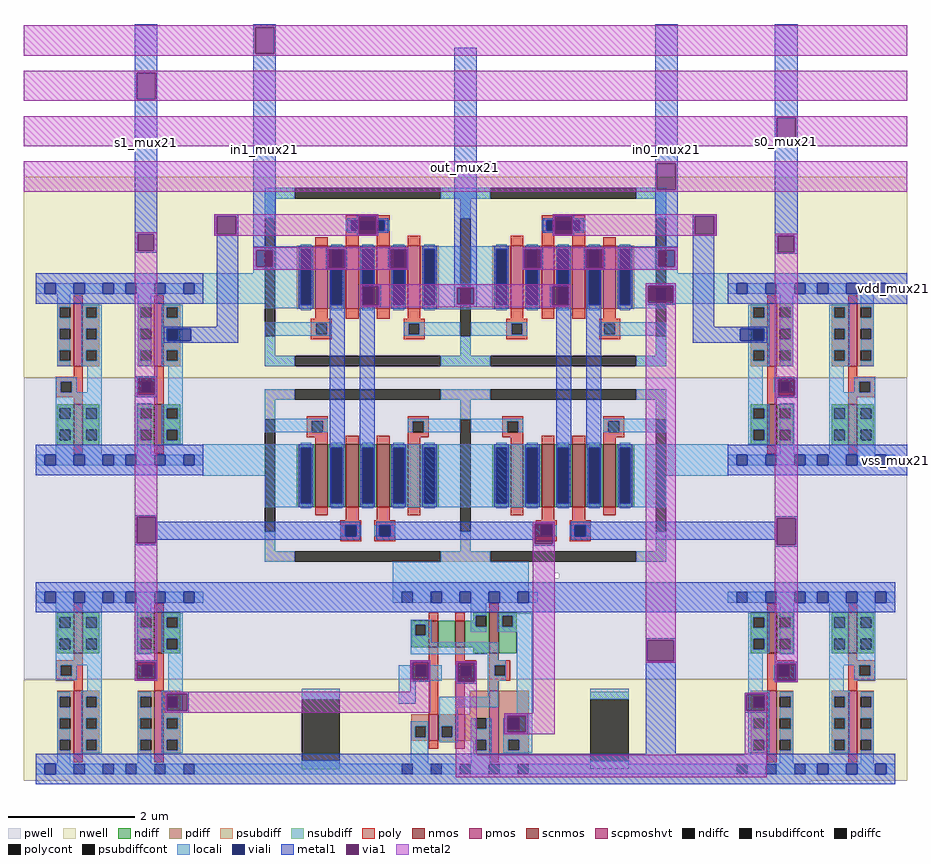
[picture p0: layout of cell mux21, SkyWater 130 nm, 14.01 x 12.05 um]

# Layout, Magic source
magic
tech sky130A
magscale 1 2
<< nwell >>
rect -42 962 872 1260
rect 876 964 992 1036
rect 1726 964 1842 1036
rect -42 943 686 962
rect 102 857 686 943
rect 102 842 722 857
rect 836 842 872 962
rect 102 622 872 842
rect 1846 962 2760 1260
rect 1846 842 1882 962
rect 2032 943 2760 962
rect 2032 857 2616 943
rect 1996 842 2616 857
rect 1846 622 2616 842
rect 102 -381 2760 -334
rect 102 -431 2616 -381
rect 102 -666 2452 -431
<< pwell >>
rect -42 286 690 622
rect 2028 286 2760 622
rect -42 176 2760 286
rect -42 156 1576 176
rect -42 90 1642 156
rect -42 58 1576 90
rect -42 -14 1642 58
rect 1654 -14 2760 176
rect -42 -334 2760 -14
<< pdiff >>
rect 924 970 976 1030
rect 1742 970 1794 1030
<< nsubdiff >>
rect 839 -398 961 -373
rect 839 -619 961 -592
rect 1755 -398 1877 -373
rect 1755 -619 1877 -592
<< nsubdiffcont >>
rect 839 -592 961 -398
rect 1755 -592 1877 -398
<< locali >>
rect 686 953 836 1040
rect 526 857 836 953
rect 1882 953 2032 1040
rect 722 842 836 857
rect 1226 840 1492 922
rect 1882 908 2192 953
rect 1882 866 1944 908
rect 2012 866 2192 908
rect 1882 857 2192 866
rect 1882 842 1996 857
rect 722 756 930 798
rect 1788 756 1996 798
rect 60 378 206 576
rect 722 450 922 492
rect 1796 450 1996 492
rect 526 312 836 412
rect 722 212 836 312
rect 1164 212 1554 412
rect 1882 312 2192 412
rect 2512 378 2658 576
rect 1882 212 1996 312
rect 1128 -57 1559 38
rect 60 -289 206 -91
rect 2512 -289 2658 -91
rect 839 -398 961 -364
rect 1755 -398 1877 -364
rect 839 -601 961 -592
rect 1755 -601 1877 -592
rect 528 -635 2219 -601
<< viali >>
rect 1944 866 2012 908
rect 414 740 488 778
rect 2230 740 2304 778
rect 330 578 364 612
rect 2356 576 2390 610
rect 978 120 1012 154
rect 1086 120 1120 154
rect 1598 120 1632 154
rect 1706 120 1740 154
rect 332 -324 366 -290
rect 1202 -324 1236 -290
rect 1342 -328 1378 -292
rect 2352 -324 2386 -290
rect 412 -424 446 -388
rect 1494 -492 1530 -456
rect 2272 -424 2306 -388
<< metal1 >>
rect 310 1590 382 1744
rect 310 1506 316 1590
rect 376 1506 382 1590
rect 310 1077 382 1506
rect 686 1734 758 1744
rect 686 1650 692 1734
rect 752 1650 758 1734
rect 310 1025 319 1077
rect 371 1025 382 1077
rect 564 1134 638 1140
rect 564 1078 570 1134
rect 632 1078 638 1134
rect 564 1072 638 1078
rect 310 1019 382 1025
rect 570 784 638 1072
rect 686 1026 758 1650
rect 1014 1134 1082 1140
rect 1014 1078 1020 1134
rect 1076 1078 1082 1134
rect 1014 1072 1082 1078
rect 686 974 696 1026
rect 748 974 758 1026
rect 686 964 758 974
rect 918 1030 982 1036
rect 918 970 924 1030
rect 976 970 982 1030
rect 918 964 982 970
rect 1114 1030 1178 1036
rect 1114 970 1120 1030
rect 1172 970 1178 1030
rect 1114 964 1178 970
rect 1026 912 1090 918
rect 1026 852 1032 912
rect 1084 852 1090 912
rect 1026 846 1090 852
rect 1323 908 1395 1668
rect 1960 1302 2032 1744
rect 1960 1218 1966 1302
rect 2026 1218 2032 1302
rect 1636 1134 1704 1140
rect 1636 1078 1642 1134
rect 1698 1078 1704 1134
rect 1636 1072 1704 1078
rect 1540 1030 1604 1036
rect 1540 970 1546 1030
rect 1598 970 1604 1030
rect 1540 964 1604 970
rect 1736 1030 1800 1036
rect 1736 970 1742 1030
rect 1794 970 1800 1030
rect 1736 964 1800 970
rect 1960 1026 2032 1218
rect 2340 1446 2412 1744
rect 2340 1362 2346 1446
rect 2406 1362 2412 1446
rect 1960 974 1970 1026
rect 2022 974 2032 1026
rect 1960 964 2032 974
rect 2080 1134 2154 1140
rect 2080 1078 2086 1134
rect 2148 1078 2154 1134
rect 2080 1072 2154 1078
rect 2340 1073 2412 1362
rect 1323 856 1333 908
rect 1385 856 1395 908
rect 1323 846 1395 856
rect 1628 912 1692 918
rect 1628 852 1634 912
rect 1686 852 1692 912
rect 1930 914 2026 922
rect 1930 860 1938 914
rect 2018 860 2026 914
rect 1930 854 2026 860
rect 1628 846 1692 852
rect 1026 842 1072 846
rect 402 778 638 784
rect 402 740 414 778
rect 488 740 638 778
rect 402 734 638 740
rect 310 621 382 627
rect 310 569 321 621
rect 373 569 382 621
rect 310 560 382 569
rect 928 412 976 842
rect 1024 410 1072 842
rect 1646 842 1692 846
rect 1646 410 1694 842
rect 1742 412 1790 842
rect 2080 784 2148 1072
rect 2340 1021 2349 1073
rect 2401 1021 2412 1073
rect 2340 1015 2412 1021
rect 2722 857 2760 953
rect 2080 778 2316 784
rect 2080 740 2230 778
rect 2304 740 2316 778
rect 2080 734 2316 740
rect 2340 617 2411 623
rect 2340 565 2351 617
rect 2403 565 2411 617
rect 2340 559 2411 565
rect 2722 313 2760 409
rect 310 181 382 187
rect 310 97 316 181
rect 376 166 382 181
rect 2340 177 2412 183
rect 2340 166 2346 177
rect 376 154 1026 166
rect 376 120 978 154
rect 1012 120 1026 154
rect 376 108 1026 120
rect 1076 160 1642 166
rect 1076 154 1578 160
rect 1076 120 1086 154
rect 1120 120 1578 154
rect 1076 108 1578 120
rect 376 97 382 108
rect 310 91 382 97
rect 1572 96 1578 108
rect 1636 96 1642 160
rect 1692 154 2346 166
rect 1692 120 1706 154
rect 1740 120 2346 154
rect 1692 108 2346 120
rect 1572 90 1642 96
rect 2340 93 2346 108
rect 2406 93 2412 177
rect 2340 87 2412 93
rect 514 -122 1254 -26
rect 1559 -122 2304 -26
rect 1930 -210 2026 -204
rect 310 -280 382 -273
rect 310 -334 316 -280
rect 376 -334 382 -280
rect 310 -339 382 -334
rect 1184 -280 1248 -274
rect 1930 -276 1936 -210
rect 2020 -276 2026 -210
rect 1184 -336 1190 -280
rect 1242 -336 1248 -280
rect 1184 -342 1248 -336
rect 1328 -282 1394 -276
rect 1328 -342 1334 -282
rect 1388 -342 1394 -282
rect 1328 -348 1394 -342
rect 406 -380 482 -374
rect 406 -434 412 -380
rect 476 -434 482 -380
rect 406 -440 482 -434
rect 1482 -450 1556 -442
rect 1482 -502 1492 -450
rect 1550 -502 1556 -450
rect 1482 -508 1556 -502
rect 1930 -570 2026 -276
rect 2340 -284 2412 -278
rect 2340 -338 2346 -284
rect 2406 -338 2412 -284
rect 2340 -344 2412 -338
rect 2244 -382 2314 -376
rect 2244 -434 2250 -382
rect 2308 -434 2314 -382
rect 2244 -440 2314 -434
rect 102 -666 2452 -570
<< via1 >>
rect 316 1506 376 1590
rect 692 1650 752 1734
rect 319 1025 371 1077
rect 570 1078 632 1134
rect 1020 1078 1076 1134
rect 696 974 748 1026
rect 924 970 976 1030
rect 1120 970 1172 1030
rect 1032 852 1084 912
rect 1966 1218 2026 1302
rect 1642 1078 1698 1134
rect 1546 970 1598 1030
rect 1742 970 1794 1030
rect 2346 1362 2406 1446
rect 1970 974 2022 1026
rect 2086 1078 2148 1134
rect 1333 856 1385 908
rect 1634 852 1686 912
rect 1938 908 2018 914
rect 1938 866 1944 908
rect 1944 866 2012 908
rect 2012 866 2018 908
rect 1938 860 2018 866
rect 321 612 373 621
rect 321 578 330 612
rect 330 578 364 612
rect 364 578 373 612
rect 321 569 373 578
rect 2349 1021 2401 1073
rect 2351 610 2403 617
rect 2351 576 2356 610
rect 2356 576 2390 610
rect 2390 576 2403 610
rect 2351 565 2403 576
rect 316 97 376 181
rect 1578 154 1636 160
rect 1578 120 1598 154
rect 1598 120 1632 154
rect 1632 120 1636 154
rect 1578 96 1636 120
rect 2346 93 2406 177
rect 316 -290 376 -280
rect 316 -324 332 -290
rect 332 -324 366 -290
rect 366 -324 376 -290
rect 316 -334 376 -324
rect 1936 -276 2020 -210
rect 1190 -290 1242 -280
rect 1190 -324 1202 -290
rect 1202 -324 1236 -290
rect 1236 -324 1242 -290
rect 1190 -336 1242 -324
rect 1334 -292 1388 -282
rect 1334 -328 1342 -292
rect 1342 -328 1378 -292
rect 1378 -328 1388 -292
rect 1334 -342 1388 -328
rect 412 -388 476 -380
rect 412 -424 446 -388
rect 446 -424 476 -388
rect 412 -434 476 -424
rect 1492 -456 1550 -450
rect 1492 -492 1494 -456
rect 1494 -492 1530 -456
rect 1530 -492 1550 -456
rect 1492 -502 1550 -492
rect 2346 -290 2406 -284
rect 2346 -324 2352 -290
rect 2352 -324 2386 -290
rect 2386 -324 2406 -290
rect 2346 -338 2406 -324
rect 2250 -388 2308 -382
rect 2250 -424 2272 -388
rect 2272 -424 2306 -388
rect 2306 -424 2308 -388
rect 2250 -434 2308 -424
<< metal2 >>
rect -42 1734 2760 1740
rect -42 1650 692 1734
rect 752 1650 2760 1734
rect -42 1644 2760 1650
rect -42 1590 2760 1596
rect -42 1506 316 1590
rect 376 1506 2760 1590
rect -42 1500 2760 1506
rect -42 1446 2760 1452
rect -42 1362 2346 1446
rect 2406 1362 2760 1446
rect -42 1356 2760 1362
rect -42 1302 2760 1308
rect -42 1218 1966 1302
rect 2026 1218 2760 1302
rect -42 1212 2760 1218
rect 562 1134 1082 1140
rect 310 1077 382 1083
rect 310 1025 319 1077
rect 371 1025 382 1077
rect 562 1078 570 1134
rect 632 1078 1020 1134
rect 1076 1078 1082 1134
rect 562 1072 1082 1078
rect 1636 1134 2156 1140
rect 1636 1078 1642 1134
rect 1698 1078 2086 1134
rect 2148 1078 2156 1134
rect 1636 1072 2156 1078
rect 2340 1073 2412 1079
rect 310 621 382 1025
rect 686 1030 1178 1036
rect 686 1026 924 1030
rect 686 974 696 1026
rect 748 974 924 1026
rect 686 970 924 974
rect 976 970 1120 1030
rect 1172 970 1178 1030
rect 686 964 1178 970
rect 1540 1030 2032 1036
rect 1540 970 1546 1030
rect 1598 970 1742 1030
rect 1794 1026 2032 1030
rect 1794 974 1970 1026
rect 2022 974 2032 1026
rect 1794 970 2032 974
rect 1540 964 2032 970
rect 2340 1021 2349 1073
rect 2401 1021 2412 1073
rect 1026 912 1692 918
rect 1026 852 1032 912
rect 1084 908 1634 912
rect 1084 856 1333 908
rect 1385 856 1634 908
rect 1084 852 1634 856
rect 1686 852 1692 912
rect 1026 846 1692 852
rect 1930 914 2026 922
rect 1930 860 1938 914
rect 2018 860 2026 914
rect 310 569 321 621
rect 373 569 382 621
rect 310 181 382 569
rect 310 97 316 181
rect 376 97 382 181
rect 310 -280 382 97
rect 1572 160 1642 166
rect 1572 96 1578 160
rect 1636 96 1642 160
rect 310 -334 316 -280
rect 376 -334 382 -280
rect 310 -339 382 -334
rect 1184 -280 1248 -274
rect 1184 -336 1190 -280
rect 1242 -336 1248 -280
rect 1184 -374 1248 -336
rect 406 -380 1248 -374
rect 406 -434 412 -380
rect 476 -434 1248 -380
rect 406 -440 1248 -434
rect 1328 -282 1394 -276
rect 1328 -342 1334 -282
rect 1388 -342 1394 -282
rect 1328 -574 1394 -342
rect 1572 -442 1642 96
rect 1930 -210 2026 860
rect 1930 -276 1936 -210
rect 2020 -276 2026 -210
rect 1930 -282 2026 -276
rect 2340 617 2412 1021
rect 2340 565 2351 617
rect 2403 565 2412 617
rect 2340 177 2412 565
rect 2340 93 2346 177
rect 2406 93 2412 177
rect 2340 -284 2412 93
rect 2340 -338 2346 -284
rect 2406 -338 2412 -284
rect 2340 -344 2412 -338
rect 1482 -450 1642 -442
rect 1482 -502 1492 -450
rect 1550 -502 1642 -450
rect 1482 -508 1642 -502
rect 2244 -382 2314 -376
rect 2244 -434 2250 -382
rect 2308 -434 2314 -382
rect 2244 -574 2314 -434
rect 1328 -644 2314 -574
use sky130_fd_pr__nfet_01v8_ZRZL87  sky130_fd_pr__nfet_01v8_ZRZL87_0
transform -1 0 1669 0 -1 312
box -363 -310 363 310
use sky130_fd_pr__nfet_01v8_ZRZL87  sky130_fd_pr__nfet_01v8_ZRZL87_1
transform 1 0 1049 0 -1 312
box -363 -310 363 310
use sky130_fd_pr__pfet_01v8_3HMKL2  sky130_fd_pr__pfet_01v8_3HMKL2_0
transform -1 0 1669 0 1 941
box -363 -319 363 319
use sky130_fd_pr__pfet_01v8_3HMKL2  sky130_fd_pr__pfet_01v8_3HMKL2_1
transform 1 0 1049 0 1 941
box -363 -319 363 319
use sky130_fd_sc_hd__and2_1  sky130_fd_sc_hd__and2_1_0 $PDKPATH/libs.ref/sky130_fd_sc_hd/mag
transform 1 0 1128 0 -1 -74
box -38 -48 498 592
use sky130_fd_sc_hd__inv_1  sky130_fd_sc_hd__inv_1_0 $PDKPATH/libs.ref/sky130_fd_sc_hd/mag
transform 1 0 -4 0 1 361
box -38 -48 314 592
use sky130_fd_sc_hd__inv_1  sky130_fd_sc_hd__inv_1_1
transform 1 0 252 0 1 361
box -38 -48 314 592
use sky130_fd_sc_hd__inv_1  sky130_fd_sc_hd__inv_1_2
transform -1 0 2722 0 -1 -74
box -38 -48 314 592
use sky130_fd_sc_hd__inv_1  sky130_fd_sc_hd__inv_1_3
transform -1 0 2466 0 -1 -74
box -38 -48 314 592
use sky130_fd_sc_hd__inv_1  sky130_fd_sc_hd__inv_1_4
transform 1 0 252 0 -1 -74
box -38 -48 314 592
use sky130_fd_sc_hd__inv_1  sky130_fd_sc_hd__inv_1_5
transform 1 0 -4 0 -1 -74
box -38 -48 314 592
use sky130_fd_sc_hd__inv_1  sky130_fd_sc_hd__inv_1_6
transform -1 0 2722 0 1 361
box -38 -48 314 592
use sky130_fd_sc_hd__inv_1  sky130_fd_sc_hd__inv_1_7
transform -1 0 2466 0 1 361
box -38 -48 314 592
<< labels >>
flabel metal1 2722 857 2760 953 0 FreeSans 160 0 0 0 vdd_mux21
port 11 nsew
flabel metal1 2722 313 2760 409 0 FreeSans 160 0 0 0 vss_mux21
port 0 nsew
flabel metal1 686 1026 758 1668 0 FreeSans 320 90 0 0 in1_mux21
port 8 nsew
flabel metal1 1323 908 1395 1668 0 FreeSans 320 90 0 0 out_mux21
port 7 nsew
flabel metal1 2340 1073 2412 1668 0 FreeSans 320 90 0 0 s0_mux21
port 10 nsew
flabel metal1 1960 1026 2032 1668 0 FreeSans 320 90 0 0 in0_mux21
port 9 nsew
flabel metal1 310 1077 382 1661 0 FreeSans 320 90 0 0 s1_mux21
port 2 nsew
<< end >>

# cell sky130_fd_pr__nfet_01v8_ZRZL87: kit device sky130_fd_pr__nfet_01v8, w 1 l 0.2 m 1 nf 4 diffcov 100 polycov 100 guard 1 glc 1 grc 1 gtc 1 gbc 1 tbcov 100 rlcov 100 topc 1 botc 1 poverlap 0 doverlap 1 lmin 0.15 wmin 0.42 compatible {sky130_fd_pr__nfet_01v8 sky130_fd_pr__nfet_01v8_lvt sky130_fd_bs_flash__special_sonosfet_star sky130_fd_pr__nfet_g5v0d10v5 sky130_fd_pr__nfet_05v0_nvt sky130_fd_pr__nfet_03v3_nvt} full_metal 1 viasrc 100 viadrn 100 viagate 100 viagb 0 viagr 0 viagl 0 viagt 0

# cell sky130_fd_pr__pfet_01v8_3HMKL2: kit device sky130_fd_pr__pfet_01v8, w 1 l 0.2 m 1 nf 4 diffcov 100 polycov 100 guard 1 glc 1 grc 1 gtc 1 gbc 1 tbcov 100 rlcov 100 topc 1 botc 1 poverlap 0 doverlap 1 lmin 0.15 wmin 0.42 compatible {sky130_fd_pr__pfet_01v8 sky130_fd_pr__pfet_01v8_lvt sky130_fd_pr__pfet_01v8_hvt sky130_fd_pr__pfet_g5v0d10v5} full_metal 1 viasrc 100 viadrn 100 viagate 100 viagb 0 viagr 0 viagl 0 viagt 0

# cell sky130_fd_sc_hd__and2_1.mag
magic
tech sky130A
magscale 1 2
<< nwell >>
rect -38 261 498 582
<< pwell >>
rect 229 185 419 203
rect 33 21 419 185
rect 33 17 63 21
rect 29 -17 63 17
<< scnmos >>
rect 115 75 145 159
rect 199 75 229 159
rect 307 47 337 177
<< scpmoshvt >>
rect 115 371 145 455
rect 199 371 229 455
rect 307 297 337 497
<< ndiff >>
rect 255 159 307 177
rect 59 121 115 159
rect 59 87 71 121
rect 105 87 115 121
rect 59 75 115 87
rect 145 75 199 159
rect 229 93 307 159
rect 229 75 263 93
rect 255 59 263 75
rect 297 59 307 93
rect 255 47 307 59
rect 337 93 393 177
rect 337 59 347 93
rect 381 59 393 93
rect 337 47 393 59
<< pdiff >>
rect 255 485 307 497
rect 255 455 263 485
rect 59 443 115 455
rect 59 409 71 443
rect 105 409 115 443
rect 59 371 115 409
rect 145 443 199 455
rect 145 409 155 443
rect 189 409 199 443
rect 145 371 199 409
rect 229 451 263 455
rect 297 451 307 485
rect 229 417 307 451
rect 229 383 263 417
rect 297 383 307 417
rect 229 371 307 383
rect 245 297 307 371
rect 337 485 432 497
rect 337 451 367 485
rect 401 451 432 485
rect 337 417 432 451
rect 337 383 367 417
rect 401 383 432 417
rect 337 297 432 383
<< ndiffc >>
rect 71 87 105 121
rect 263 59 297 93
rect 347 59 381 93
<< pdiffc >>
rect 71 409 105 443
rect 155 409 189 443
rect 263 451 297 485
rect 263 383 297 417
rect 367 451 401 485
rect 367 383 401 417
<< poly >>
rect 307 497 337 523
rect 115 455 145 481
rect 199 455 229 481
rect 115 265 145 371
rect 58 249 145 265
rect 58 215 74 249
rect 108 215 145 249
rect 58 199 145 215
rect 115 159 145 199
rect 199 265 229 371
rect 307 265 337 297
rect 199 249 265 265
rect 199 215 215 249
rect 249 215 265 249
rect 199 199 265 215
rect 307 249 373 265
rect 307 215 323 249
rect 357 215 373 249
rect 307 199 373 215
rect 199 159 229 199
rect 307 177 337 199
rect 115 49 145 75
rect 199 49 229 75
rect 307 21 337 47
<< polycont >>
rect 74 215 108 249
rect 215 215 249 249
rect 323 215 357 249
<< locali >>
rect 0 527 29 561
rect 63 527 121 561
rect 155 527 213 561
rect 247 527 305 561
rect 339 527 397 561
rect 431 527 460 561
rect 57 443 113 527
rect 247 485 313 527
rect 57 409 71 443
rect 105 409 113 443
rect 57 393 113 409
rect 147 443 207 459
rect 147 409 155 443
rect 189 409 207 443
rect 147 349 207 409
rect 247 451 263 485
rect 297 451 313 485
rect 247 417 313 451
rect 247 383 263 417
rect 297 383 313 417
rect 351 485 443 493
rect 351 451 367 485
rect 401 451 443 485
rect 351 417 443 451
rect 351 383 367 417
rect 401 383 443 417
rect 20 265 73 337
rect 147 315 335 349
rect 301 265 335 315
rect 20 249 155 265
rect 20 215 74 249
rect 108 215 155 249
rect 199 249 267 265
rect 199 215 215 249
rect 249 215 267 249
rect 301 249 359 265
rect 301 215 323 249
rect 357 215 359 249
rect 301 199 359 215
rect 301 181 335 199
rect 57 143 335 181
rect 57 121 123 143
rect 57 87 71 121
rect 105 87 123 121
rect 393 109 443 383
rect 57 71 123 87
rect 247 93 297 109
rect 247 59 263 93
rect 247 17 297 59
rect 331 93 443 109
rect 331 59 347 93
rect 381 59 443 93
rect 331 51 443 59
rect 0 -17 29 17
rect 63 -17 121 17
rect 155 -17 213 17
rect 247 -17 305 17
rect 339 -17 397 17
rect 431 -17 460 17
<< viali >>
rect 29 527 63 561
rect 121 527 155 561
rect 213 527 247 561
rect 305 527 339 561
rect 397 527 431 561
rect 29 -17 63 17
rect 121 -17 155 17
rect 213 -17 247 17
rect 305 -17 339 17
rect 397 -17 431 17
<< metal1 >>
rect 0 561 460 592
rect 0 527 29 561
rect 63 527 121 561
rect 155 527 213 561
rect 247 527 305 561
rect 339 527 397 561
rect 431 527 460 561
rect 0 496 460 527
rect 0 17 460 48
rect 0 -17 29 17
rect 63 -17 121 17
rect 155 -17 213 17
rect 247 -17 305 17
rect 339 -17 397 17
rect 431 -17 460 17
rect 0 -48 460 -17
<< labels >>
flabel metal1 s 29 527 63 561 0 FreeSans 200 0 0 0 VPWR
port 1 nsew
flabel metal1 s 29 -17 63 17 0 FreeSans 200 0 0 0 VGND
port 2 nsew
flabel locali s 397 153 431 187 0 FreeSans 250 0 0 0 X
port 3 nsew
flabel locali s 397 85 431 119 0 FreeSans 250 0 0 0 X
port 3 nsew
flabel locali s 397 221 431 255 0 FreeSans 250 0 0 0 X
port 3 nsew
flabel locali s 397 289 431 323 0 FreeSans 250 0 0 0 X
port 3 nsew
flabel locali s 397 357 431 391 0 FreeSans 250 0 0 0 X
port 3 nsew
flabel locali s 397 425 431 459 0 FreeSans 250 0 0 0 X
port 3 nsew
flabel locali s 213 221 247 255 0 FreeSans 250 0 0 0 B
port 5 nsew
flabel locali s 121 221 155 255 0 FreeSans 250 0 0 0 A
port 4 nsew
flabel locali s 29 221 63 255 0 FreeSans 250 0 0 0 A
port 4 nsew
rlabel comment s 0 0 0 0 4 and2_1
flabel nwell s 29 527 63 561 0 FreeSans 200 0 0 0 VPB
port 7 nsew
flabel pwell s 29 -17 63 17 0 FreeSans 200 0 0 0 VNB
port 8 nsew
<< properties >>
string FIXED_BBOX 0 0 460 544
string GDS_END 145472
string GDS_FILE adc_top.gds.gz
string GDS_START 140618
string path 0.000 2.720 2.300 2.720 
<< end >>

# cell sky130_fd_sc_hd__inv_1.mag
magic
tech sky130A
magscale 1 2
<< nwell >>
rect -38 261 314 582
<< pwell >>
rect 42 21 228 203
rect 42 17 63 21
rect 29 -17 63 17
<< scnmos >>
rect 120 47 150 177
<< scpmoshvt >>
rect 120 297 150 497
<< ndiff >>
rect 68 165 120 177
rect 68 131 76 165
rect 110 131 120 165
rect 68 97 120 131
rect 68 63 76 97
rect 110 63 120 97
rect 68 47 120 63
rect 150 165 202 177
rect 150 131 160 165
rect 194 131 202 165
rect 150 97 202 131
rect 150 63 160 97
rect 194 63 202 97
rect 150 47 202 63
<< pdiff >>
rect 68 485 120 497
rect 68 451 76 485
rect 110 451 120 485
rect 68 417 120 451
rect 68 383 76 417
rect 110 383 120 417
rect 68 349 120 383
rect 68 315 76 349
rect 110 315 120 349
rect 68 297 120 315
rect 150 485 202 497
rect 150 451 160 485
rect 194 451 202 485
rect 150 417 202 451
rect 150 383 160 417
rect 194 383 202 417
rect 150 349 202 383
rect 150 315 160 349
rect 194 315 202 349
rect 150 297 202 315
<< ndiffc >>
rect 76 131 110 165
rect 76 63 110 97
rect 160 131 194 165
rect 160 63 194 97
<< pdiffc >>
rect 76 451 110 485
rect 76 383 110 417
rect 76 315 110 349
rect 160 451 194 485
rect 160 383 194 417
rect 160 315 194 349
<< poly >>
rect 120 497 150 523
rect 120 265 150 297
rect 64 249 150 265
rect 64 215 80 249
rect 114 215 150 249
rect 64 199 150 215
rect 120 177 150 199
rect 120 21 150 47
<< polycont >>
rect 80 215 114 249
<< locali >>
rect 0 527 29 561
rect 63 527 121 561
rect 155 527 213 561
rect 247 527 276 561
rect 68 485 110 527
rect 68 451 76 485
rect 68 417 110 451
rect 68 383 76 417
rect 68 349 110 383
rect 68 315 76 349
rect 68 299 110 315
rect 144 485 210 493
rect 144 451 160 485
rect 194 451 210 485
rect 144 417 210 451
rect 144 383 160 417
rect 194 383 210 417
rect 144 349 210 383
rect 144 315 160 349
rect 194 315 210 349
rect 144 297 210 315
rect 64 249 130 263
rect 64 215 80 249
rect 114 215 130 249
rect 64 165 110 181
rect 164 177 210 297
rect 64 131 76 165
rect 64 97 110 131
rect 64 63 76 97
rect 64 17 110 63
rect 144 165 210 177
rect 144 131 160 165
rect 194 131 210 165
rect 144 97 210 131
rect 144 63 160 97
rect 194 63 210 97
rect 144 51 210 63
rect 0 -17 29 17
rect 63 -17 121 17
rect 155 -17 213 17
rect 247 -17 276 17
<< viali >>
rect 29 527 63 561
rect 121 527 155 561
rect 213 527 247 561
rect 29 -17 63 17
rect 121 -17 155 17
rect 213 -17 247 17
<< metal1 >>
rect 0 561 276 592
rect 0 527 29 561
rect 63 527 121 561
rect 155 527 213 561
rect 247 527 276 561
rect 0 496 276 527
rect 0 17 276 48
rect 0 -17 29 17
rect 63 -17 121 17
rect 155 -17 213 17
rect 247 -17 276 17
rect 0 -48 276 -17
<< labels >>
flabel metal1 s 29 -17 63 17 0 FreeSans 200 0 0 0 VGND
port 1 nsew
flabel metal1 s 29 527 63 561 0 FreeSans 200 0 0 0 VPWR
port 2 nsew
flabel locali s 164 289 198 323 0 FreeSans 340 0 0 0 Y
port 4 nsew
flabel locali s 164 221 198 255 0 FreeSans 340 0 0 0 Y
port 4 nsew
flabel locali s 72 221 106 255 0 FreeSans 340 0 0 0 A
port 3 nsew
rlabel comment s 0 0 0 0 4 inv_1
flabel nwell s 29 527 63 561 0 FreeSans 200 0 0 0 VPB
port 6 nsew
flabel pwell s 29 -17 63 17 0 FreeSans 200 0 0 0 VNB
port 7 nsew
<< properties >>
string FIXED_BBOX 0 0 276 544
string GDS_END 197690
string GDS_FILE adc_top.gds.gz
string GDS_START 194184
string path 0.000 0.000 1.380 0.000 
<< end >>
